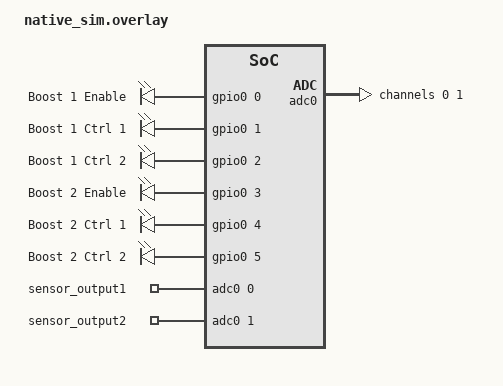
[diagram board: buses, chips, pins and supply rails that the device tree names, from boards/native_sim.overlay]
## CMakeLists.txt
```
# SPDX-License-Identifier: Apache-2.0

cmake_minimum_required(VERSION 3.20.0)

find_package(Zephyr REQUIRED HINTS $ENV{ZEPHYR_BASE})

project(sensor_power_tests)

target_include_directories(app PRIVATE 
    ${CMAKE_CURRENT_SOURCE_DIR}/../../include
)

target_sources(app PRIVATE src/main.c
    ${CMAKE_CURRENT_SOURCE_DIR}/../../src/sensor_power.c
)
```

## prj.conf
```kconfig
CONFIG_ZTEST=y
CONFIG_GPIO=y
CONFIG_GPIO_EMUL=y
CONFIG_REGULATOR=y
CONFIG_REGULATOR_FAKE=y
CONFIG_ADC=y
CONFIG_ADC_EMUL=y
CONFIG_FPU=y
```

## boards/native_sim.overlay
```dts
#include <zephyr/dt-bindings/gpio/gpio.h>
#include <dt-bindings/regulator/npm1300.h>

/ {

    leds {
		compatible = "gpio-leds";
		boost1_en: boost1_en {
			gpios = <&gpio0 0 GPIO_ACTIVE_HIGH>;
			label = "Boost 1 Enable";
		};
		boost1_ctrl1: boost1_ctrl1 {
			gpios = <&gpio0 1 GPIO_ACTIVE_HIGH>;
			label = "Boost 1 Ctrl 1";
		};
		boost1_ctrl2: boost1_ctrl2 {
			gpios = <&gpio0 2 GPIO_ACTIVE_HIGH>;
			label = "Boost 1 Ctrl 2";
		};
		boost2_en: boost2_en {
			gpios = <&gpio0 3 GPIO_ACTIVE_HIGH>;
			label = "Boost 2 Enable";
		};
		boost2_ctrl1: boost2_ctrl1 {
			gpios = <&gpio0 4 GPIO_ACTIVE_HIGH>;
			label = "Boost 2 Ctrl 1";
		};
		boost2_ctrl2: boost2_ctrl2 {
			gpios = <&gpio0 5 GPIO_ACTIVE_HIGH>;
			label = "Boost 2 Ctrl 2";
		};
	};
    aliases {
		boost1en = &boost1_en;
		boost1ctrl1 = &boost1_ctrl1;
		boost1ctrl2 = &boost1_ctrl2;
		boost2en = &boost2_en;
		boost2ctrl1 = &boost2_ctrl1;
		boost2ctrl2 = &boost2_ctrl2;
    };

	npm1300_ek_pmic: pmic {

        npm1300_ek_regulators: regulators {
            compatible = "zephyr,fake-regulator";

            npm1300_ek_buck1: buck1 {
                regulator-min-microvolt = <3000000>;
                regulator-max-microvolt = <3000000>;
            };

            npm1300_ek_ldo1: ldo1 {
                regulator-initial-mode = <NPM1300_LDSW_MODE_LDO>;
                /delete-property/ enable-gpios;
                /delete-property/ regulator-init-microvolt;
                regulator-boot-off;
            };

            npm1300_ek_ldo2: ldo2 {
                regulator-initial-mode = <NPM1300_LDSW_MODE_LDO>;
                /delete-property/ enable-gpios;
                /delete-property/ regulator-init-microvolt;
                regulator-boot-off;
            };
        };

        npm1300_ek_charger: charger {
            compatible = "test-charger"; // Dummy compatible
        };

        npm1300_ek_leds: leds {
            compatible = "nordic,npm1300-led";
            nordic,led0-mode = "error";    
            nordic,led1-mode = "charging";    
            nordic,led2-mode = "host";
        };
    };

    zephyr,user {
		/* adjust channel number according to pinmux in board.dts */
		io-channels = <&adc0 0>, <&adc0 1>;
		io-channel-names = "sensor_output1", "sensor_output2";
	};
};

&adc0 {
	#address-cells = <1>;
	#size-cells = <0>;
	status = "okay";
	ref-internal-mv = <600>;
	channel@0 {
		reg = <0>;
		zephyr,gain = "ADC_GAIN_1_6";
		zephyr,reference = "ADC_REF_INTERNAL";
		zephyr,acquisition-time = <ADC_ACQ_TIME_DEFAULT>;
		zephyr,input-positive = <2>; 
		zephyr,resolution = <12>;
	};
    channel@1 {
		reg = <1>;
		zephyr,gain = "ADC_GAIN_1_6";
		zephyr,reference = "ADC_REF_INTERNAL";
		zephyr,acquisition-time = <ADC_ACQ_TIME_DEFAULT>;
		zephyr,input-positive = <3>; 
		zephyr,resolution = <12>;
	};
};

&gpio0 {
    status = "okay";
    compatible = "zephyr,gpio-emul";
    ngpios = <32>;
    gpio-controller;
    #gpio-cells = <2>;
};
```

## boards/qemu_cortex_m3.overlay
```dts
#include <zephyr/dt-bindings/gpio/gpio.h>
#include <dt-bindings/regulator/npm1300.h>

/ {

    leds {
		compatible = "gpio-leds";
		boost1_en: boost1_en {
			gpios = <&gpio0 0 GPIO_ACTIVE_HIGH>;
			label = "Boost 1 Enable";
		};
		boost1_ctrl1: boost1_ctrl1 {
			gpios = <&gpio0 1 GPIO_ACTIVE_HIGH>;
			label = "Boost 1 Ctrl 1";
		};
		boost1_ctrl2: boost1_ctrl2 {
			gpios = <&gpio0 2 GPIO_ACTIVE_HIGH>;
			label = "Boost 1 Ctrl 2";
		};
		boost2_en: boost2_en {
			gpios = <&gpio0 3 GPIO_ACTIVE_HIGH>;
			label = "Boost 2 Enable";
		};
		boost2_ctrl1: boost2_ctrl1 {
			gpios = <&gpio0 4 GPIO_ACTIVE_HIGH>;
			label = "Boost 2 Ctrl 1";
		};
		boost2_ctrl2: boost2_ctrl2 {
			gpios = <&gpio0 5 GPIO_ACTIVE_HIGH>;
			label = "Boost 2 Ctrl 2";
		};
	};
    aliases {
		boost1en = &boost1_en;
		boost1ctrl1 = &boost1_ctrl1;
		boost1ctrl2 = &boost1_ctrl2;
		boost2en = &boost2_en;
		boost2ctrl1 = &boost2_ctrl1;
		boost2ctrl2 = &boost2_ctrl2;
    };

	npm1300_ek_pmic: pmic {
        // compatible = "zephyr,regulator";

        npm1300_ek_regulators: regulators {
            // compatible = "zephyr,regulator";
            compatible = "zephyr,fake-regulator";

            npm1300_ek_buck1: buck1 {
                regulator-min-microvolt = <3000000>;
                regulator-max-microvolt = <3000000>;
            };

            npm1300_ek_ldo1: ldo1 {
                regulator-initial-mode = <NPM1300_LDSW_MODE_LDO>;
                /delete-property/ enable-gpios;
                /delete-property/ regulator-init-microvolt;
                regulator-boot-off;
            };

            npm1300_ek_ldo2: ldo2 {
                regulator-initial-mode = <NPM1300_LDSW_MODE_LDO>;
                /delete-property/ enable-gpios;
                /delete-property/ regulator-init-microvolt;
                regulator-boot-off;
            };
        };

        npm1300_ek_charger: charger {
            compatible = "test-charger"; // Dummy compatible
        };

        npm1300_ek_leds: leds {
            compatible = "nordic,npm1300-led";
            nordic,led0-mode = "error";    
            nordic,led1-mode = "charging";    
            nordic,led2-mode = "host";
        };
    };
    // zephyr,user {
	// 	/* adjust channel number according to pinmux in board.dts */
	// 	io-channels = <&adc 0>, <&adc 1>;
	// 	io-channel-names = "sensor_output1", "sensor_output2";
	// };
};

// &adc {
// 	#address-cells = <1>;
// 	#size-cells = <0>;
// 	status = "okay";
// 	channel@0 {
// 		reg = <0>;
// 		zephyr,gain = "ADC_GAIN_1_6";
// 		zephyr,reference = "ADC_REF_INTERNAL";
// 		zephyr,acquisition-time = <ADC_ACQ_TIME_DEFAULT>;
// 		zephyr,input-positive = <NRF_SAADC_AIN2>; 
// 		zephyr,resolution = <12>;
// 	};
//     channel@1 {
// 		reg = <1>;
// 		zephyr,gain = "ADC_GAIN_1_6";
// 		zephyr,reference = "ADC_REF_INTERNAL";
// 		zephyr,acquisition-time = <ADC_ACQ_TIME_DEFAULT>;
// 		zephyr,input-positive = <NRF_SAADC_AIN3>; 
// 		zephyr,resolution = <12>;
// 	};
// };

// &adc0 {
// 	compatible = "zephyr,adc-emul";
// 	status = "okay";
// 	#address-cells = <1>;
// 	#size-cells = <0>;
// 	channel0: channel@0 {
// 		reg = <0>;
// 		zephyr,gain = "ADC_GAIN_1";
// 		zephyr,reference = "ADC_REF_INTERNAL";
// 		zephyr,acquisition-time = <ADC_ACQ_TIME_DEFAULT>;
// 		zephyr,input-positive = <0>;
// 		zephyr,resolution = <12>;
// 	};
// };

&gpio0 {
    status = "okay";
    compatible = "zephyr,gpio-emul";
    ngpios = <32>;
    gpio-controller;
    #gpio-cells = <2>;
};
```

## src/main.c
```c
/*
 * Copyright (c) 2016 Intel Corporation
 *
 * SPDX-License-Identifier: Apache-2.0
 * Tests:
 * - Regulators are less than 3V when off
 * - Regulator outputs are validated with ADC
 */

#include <zephyr/fff.h>
#include <zephyr/ztest.h>
#include "sensor_power.h"

#include <zephyr/drivers/gpio.h>
#include <zephyr/kernel.h>
#include <zephyr/drivers/gpio/gpio_emul.h>
#include <zephyr/drivers/regulator.h>
#include <zephyr/drivers/regulator/fake.h>
#include <zephyr/drivers/adc.h>
#include <zephyr/drivers/adc/adc_emul.h>


DEFINE_FFF_GLOBALS;

// static const struct adc_dt_spec adc_bat = ADC_DT_SPEC_GET_BY_NAME(DT_PATH(zephyr_user), v_bat);

sensor_power_config_t sensor_output1 = {
	.output_id = SENSOR_OUTPUT_1,
	.boost_en = GPIO_DT_SPEC_GET(DT_ALIAS(boost1en), gpios),	
	.boost_ctrl1 = GPIO_DT_SPEC_GET(DT_ALIAS(boost1ctrl1), gpios),
	.boost_ctrl2 = GPIO_DT_SPEC_GET(DT_ALIAS(boost1ctrl2), gpios),
	.ldo_dev = DEVICE_DT_GET(DT_NODELABEL(npm1300_ek_ldo1)),
	.output_read = ADC_DT_SPEC_GET_BY_NAME(DT_PATH(zephyr_user), sensor_output1)
};

sensor_power_config_t sensor_output2 = {
	.output_id = SENSOR_OUTPUT_2,
	.boost_en = GPIO_DT_SPEC_GET(DT_ALIAS(boost2en), gpios),	
	.boost_ctrl1 = GPIO_DT_SPEC_GET(DT_ALIAS(boost2ctrl1), gpios),
	.boost_ctrl2 = GPIO_DT_SPEC_GET(DT_ALIAS(boost2ctrl2), gpios),
	.ldo_dev = DEVICE_DT_GET(DT_NODELABEL(npm1300_ek_ldo2)),
	.output_read = ADC_DT_SPEC_GET_BY_NAME(DT_PATH(zephyr_user), sensor_output2)
};

/**
 * @brief confirm_voltage checks that gpios are set correctly for the boost converter and the correct 
 * regulator calls are made.
 * 
 * @param config the sensor struct to check
 * @param voltage the voltage setting being confirmed
 */
static void confirm_voltage(sensor_power_config_t *config, enum sensor_voltage voltage)
{
	int val_en = gpio_emul_output_get(config->boost_en.port, config->boost_en.pin);
	int val_ctrl1 = gpio_emul_output_get(config->boost_ctrl1.port, config->boost_ctrl1.pin);
	int val_ctrl2 = gpio_emul_output_get(config->boost_ctrl2.port, config->boost_ctrl2.pin);

	int sensor_voltage_value = get_sensor_output(config);

	switch (voltage) {
		case SENSOR_VOLTAGE_OFF:
			zassert_equal(sensor_voltage_value, SENSOR_VOLTAGE_OFF, "Sensor output should be set to SENSOR_VOLTAGE_OFF instead is %d", sensor_voltage_value);
			zassert_false(regulator_is_enabled(config->ldo_dev), "Regulator should be off for SENSOR_VOLTAGE_OFF");
			zassert_equal(val_en, 0, "BOOST_EN should be LOW for OFF");
			zassert_equal(val_ctrl1, 0, "CTRL1 should be LOW for OFF");
			zassert_equal(val_ctrl2, 0, "CTRL2 should be LOW for OFF");
			break;
		case SENSOR_VOLTAGE_3V3:
			zassert_equal(sensor_voltage_value, SENSOR_VOLTAGE_3V3, "Sensor output should be set to SENSOR_VOLTAGE_3V3");
			zassert_true(regulator_is_enabled(config->ldo_dev), "Regulator should be on for SENSOR_VOLTAGE_3V3");
			zassert_equal(val_en, 0, "BOOST_EN should be LOW for SENSOR_VOLTAGE_3V3");
			zassert_equal(val_ctrl1, 0, "CTRL1 should be LOW for SENSOR_VOLTAGE_3V3");
			zassert_equal(val_ctrl2, 0, "CTRL2 should be LOW for SENSOR_VOLTAGE_3V3");
			break;
		case SENSOR_VOLTAGE_5V:
			zassert_equal(regulator_fake_enable_fake.call_count, 0, "Expected regulator_enable to not be called for for SENSOR_VOLTAGE_5V");
			zassert_false(regulator_is_enabled(config->ldo_dev), "Regulator should be off for SENSOR_VOLTAGE_5V");
			zassert_equal(val_en, 1, "BOOST_EN should be HIGH for SENSOR_VOLTAGE_5V");
			zassert_equal(val_ctrl1, 1, "CTRL1 should be HIGH for SENSOR_VOLTAGE_5V");
			zassert_equal(val_ctrl2, 1, "CTRL2 should be HIGH for SENSOR_VOLTAGE_5V");
			break;
		case SENSOR_VOLTAGE_6V:
			zassert_equal(regulator_fake_enable_fake.call_count, 0, "Expected regulator_enable to not be called for for SENSOR_VOLTAGE_6V");
			zassert_false(regulator_is_enabled(config->ldo_dev), "Regulator should be off for SENSOR_VOLTAGE_6V");
			zassert_equal(val_en, 1, "BOOST_EN should be HIGH for SENSOR_VOLTAGE_6V");
			zassert_equal(val_ctrl1, 0, "CTRL1 should be LOW for SENSOR_VOLTAGE_6V");
			zassert_equal(val_ctrl2, 1, "CTRL2 should be HIGH for SENSOR_VOLTAGE_6V");
			break;
		case SENSOR_VOLTAGE_12V:
			zassert_equal(regulator_fake_enable_fake.call_count, 0, "Expected regulator_enable to not be called for for SENSOR_VOLTAGE_12V");
			zassert_false(regulator_is_enabled(config->ldo_dev), "Regulator should be off for SENSOR_VOLTAGE_12V");
			zassert_equal(val_en, 1, "BOOST_EN should be HIGH for SENSOR_VOLTAGE_12V");
			zassert_equal(val_ctrl1, 1, "CTRL1 should be HIGH for SENSOR_VOLTAGE_12V");
			zassert_equal(val_ctrl2, 0, "CTRL2 should be LOW for SENSOR_VOLTAGE_12V");
			break;
		case SENSOR_VOLTAGE_24V:
			zassert_equal(regulator_fake_enable_fake.call_count, 0, "Expected regulator_enable to not be called for for SENSOR_VOLTAGE_24V");
			zassert_false(regulator_is_enabled(config->ldo_dev), "Regulator should be off for SENSOR_VOLTAGE_24V");
			zassert_equal(val_en, 1, "BOOST_EN should be HIGH for SENSOR_VOLTAGE_24V");
			zassert_equal(val_ctrl1, 0, "CTRL1 should be LOW for SENSOR_VOLTAGE_24V");
			zassert_equal(val_ctrl2, 0, "CTRL2 should be LOW for SENSOR_VOLTAGE_24V");
			break;
		default:
			ztest_test_fail();
			return -EINVAL; 
	}
}

/**
 * @brief Reset all fakes being used in tests
 * 
 */
static void reset_all_fakes(void)
{
	// Clear previous call history
	RESET_FAKE(regulator_fake_set_voltage);
	RESET_FAKE(regulator_fake_enable);
	RESET_FAKE(regulator_fake_disable);
}

/**
 * @brief Setup sensor power systems 
 * 
 */
static void testsuite_setup(void)
{
	reset_all_fakes();

	int err;
	err = sensor_power_init(&sensor_output1);
	zassert_ok(err, "Sensor power initialization failed");

	err = sensor_power_init(&sensor_output2);
	zassert_ok(err, "Sensor power initialization failed");

	zassert_true(device_is_ready(sensor_output1.output_read.dev), "Sensor1 ADC is not ready");
	zassert_true(device_is_ready(sensor_output2.output_read.dev), "Sensor2 ADC is not ready");

	zassert_true(device_is_ready(sensor_output1.ldo_dev), "LDO1 not ready");
	zassert_true(device_is_ready(sensor_output2.ldo_dev), "LDO2 not ready");

	zassert_true(device_is_ready(sensor_output1.boost_en.port), "GPIO EN1 not ready");
	zassert_true(device_is_ready(sensor_output1.boost_ctrl1.port), "GPIO CTRL1 not ready");

	// These will be used for gpio emul
	zassert_true(device_is_ready(sensor_output1.boost_en.port), "GPIO EN1 not ready");
	zassert_true(device_is_ready(sensor_output1.boost_ctrl1.port), "GPIO CTRL1 not ready");
	zassert_true(device_is_ready(sensor_output1.boost_ctrl2.port), "GPIO CTRL2 not ready");

	zassert_true(device_is_ready(sensor_output2.boost_en.port), "GPIO EN2 not ready");
	zassert_true(device_is_ready(sensor_output2.boost_ctrl1.port), "GPIO CTRL1 not ready");
	zassert_true(device_is_ready(sensor_output2.boost_ctrl2.port), "GPIO CTRL2 not ready");

	zassert_equal(regulator_fake_set_voltage_fake.call_count, 2, "regulator_set_voltage not called twice");
	// Check the first regulator was set up correctly 
	zassert_equal(regulator_fake_set_voltage_fake.arg0_history[0], sensor_output1.ldo_dev);
	zassert_equal(regulator_fake_set_voltage_fake.arg1_history[0], 3300000);
	zassert_equal(regulator_fake_set_voltage_fake.arg2_history[0], 3300000);
	// Check the second regulator was set up correctly
	zassert_equal(regulator_fake_set_voltage_fake.arg0_history[1], sensor_output2.ldo_dev);
	zassert_equal(regulator_fake_set_voltage_fake.arg1_history[1], 3300000);
	zassert_equal(regulator_fake_set_voltage_fake.arg2_history[1], 3300000);

	confirm_voltage(&sensor_output1, SENSOR_VOLTAGE_OFF);
	confirm_voltage(&sensor_output2, SENSOR_VOLTAGE_OFF);
}

/**
 * @brief Call after each test
 * 
 */
static void after_tests(void)
{
	// Reset all voltages to OFF after each test
	set_sensor_output(&sensor_output1, SENSOR_VOLTAGE_OFF);
	set_sensor_output(&sensor_output2, SENSOR_VOLTAGE_OFF);
}

/**
 * @brief Call before each test
 * 
 */
static void before_tests(void)
{
	reset_all_fakes();
}

/**
 * @brief Test Asserts
 *
 * This test verifies various assert macros provided by ztest.
 *
 */
ZTEST_SUITE(sensor_power_tests, NULL, testsuite_setup, before_tests, after_tests, NULL);

/**
 * @brief Confirm the correct gpios are set and regulator calls are made for setting an output OFF
 * 
 */
ZTEST(sensor_power_tests, test_set_regulator_off)
{
	set_sensor_output(&sensor_output1, SENSOR_VOLTAGE_OFF);
	confirm_voltage(&sensor_output1, SENSOR_VOLTAGE_OFF);
}

/**
 * @brief Confirm the correct gpios are set and regulator calls are made for setting an output to 3.3V
 * 
 */
ZTEST(sensor_power_tests, test_set_regulator_3v3)
{
	set_sensor_output(&sensor_output1, SENSOR_VOLTAGE_3V3);
	confirm_voltage(&sensor_output1, SENSOR_VOLTAGE_3V3);
}

/**
 * @brief Confirm the correct gpios are set and regulator calls are made for setting an output to 5V
 * 
 */
ZTEST(sensor_power_tests, test_set_regulator_5v)
{
	set_sensor_output(&sensor_output1, SENSOR_VOLTAGE_5V);
	confirm_voltage(&sensor_output1, SENSOR_VOLTAGE_5V);
}

/**
 * @brief Confirm the correct gpios are set and regulator calls are made for setting an output to 6V
 * 
 */
ZTEST(sensor_power_tests, test_set_regulator_6v)
{
	set_sensor_output(&sensor_output1, SENSOR_VOLTAGE_6V);
	confirm_voltage(&sensor_output1, SENSOR_VOLTAGE_6V);
}

/**
 * @brief Confirm the correct gpios are set and regulator calls are made for setting an output to 12V
 * 
 */
ZTEST(sensor_power_tests, test_set_regulator_12v)
{
	set_sensor_output(&sensor_output1, SENSOR_VOLTAGE_12V);
	confirm_voltage(&sensor_output1, SENSOR_VOLTAGE_12V);
}

/**
 * @brief Confirm the correct gpios are set and regulator calls are made for setting an output to 24V
 * 
 */
ZTEST(sensor_power_tests, test_set_regulator_24v)
{
	set_sensor_output(&sensor_output1, SENSOR_VOLTAGE_24V);
	confirm_voltage(&sensor_output1, SENSOR_VOLTAGE_24V);
}

/**
 * @brief Confirm that multiple outputs can be set correctly 
 * 
 */
ZTEST(sensor_power_tests, test_set_different_sensors_different_voltages)
{
	set_sensor_output(&sensor_output1, SENSOR_VOLTAGE_6V);
	confirm_voltage(&sensor_output1, SENSOR_VOLTAGE_6V);

	set_sensor_output(&sensor_output2, SENSOR_VOLTAGE_24V);
	confirm_voltage(&sensor_output2, SENSOR_VOLTAGE_24V);
}

/**
 * @brief Confirm that the same output can be set correctly multiple times
 * 
 */
ZTEST(sensor_power_tests, test_set_same_sensor_multiple_times)
{
	set_sensor_output(&sensor_output1, SENSOR_VOLTAGE_3V3);
	confirm_voltage(&sensor_output1, SENSOR_VOLTAGE_3V3);

	set_sensor_output(&sensor_output1, SENSOR_VOLTAGE_OFF);
	confirm_voltage(&sensor_output1, SENSOR_VOLTAGE_OFF);
	zassert_equal(regulator_fake_disable_fake.call_count, 1, "Expected regulator_disable to be called once when going from 3V3 to OFF");
}

/**
 * @brief Confirm that invalid outputs set output to OFF
 * 
 */
ZTEST(sensor_power_tests, test_invalid_output_sets_voltage_off)
{
	set_sensor_output(&sensor_output1, SENSOR_VOLTAGE_3V3);
	confirm_voltage(&sensor_output1, SENSOR_VOLTAGE_3V3);

	set_sensor_output(&sensor_output1, SENSOR_VOLTAGE_INDEX_LIMIT);
	confirm_voltage(&sensor_output1, SENSOR_VOLTAGE_OFF);
}


/**
 * @brief Get correct name associated to a sensor value
 * 
 */
ZTEST(sensor_power_tests, test_get_sensor_output_name)
{
	char voltage_name[20];
	char * expected_name = "SENSOR_VOLTAGE_3V3";
	int ret = get_sensor_voltage_name(voltage_name, SENSOR_VOLTAGE_3V3);
	zassert_ok(ret, "Issue getting the correct name");
	zassert_str_equal(voltage_name, expected_name, "%s is not %s", voltage_name, expected_name);
}

/**
 * @brief Test upper and lower bounds return of get_sensor_voltage_name
 * 
 */
ZTEST(sensor_power_tests, test_sensor_output_name_out_of_bounds)
{
	char voltage_name[20];
	int ret = get_sensor_voltage_name(voltage_name, SENSOR_VOLTAGE_INDEX_LIMIT);
	zassert_not_ok(ret, "did not detect out of bounds name");
	ret = get_sensor_voltage_name(voltage_name, -1);
	zassert_not_ok(ret, "did not detect out of bounds name");
}

/**
 * @brief Confirm that sensor output read adc is working 
 * 
 */
ZTEST(sensor_power_tests, test_output_read_expected_value)
{
	float accepted_error = 0.05; // Take into account integer rounding errors in the conversion
	set_sensor_output(&sensor_output1, SENSOR_VOLTAGE_3V3);
	confirm_voltage(&sensor_output1, SENSOR_VOLTAGE_3V3);
	const uint16_t input_mv = 2500;
	const float expected_output = (float)(input_mv / 1000.0) * (float)(((float)OUTUT_READ_DIVIDER_HIGH + (float)OUTUT_READ_DIVIDER_LOW)/(float)OUTUT_READ_DIVIDER_LOW);
	adc_emul_const_value_set(sensor_output1.output_read.dev, sensor_output1.output_read.channel_id, input_mv);
	float output = read_sensor_output(&sensor_output1);
	zassert_within(output, expected_output, accepted_error, "Mismatch: got %f, expected %f", output, expected_output);
}

/**
 * @brief Test validate_output for 3v3, making sure valid adc reading and sensor was set correctly
 * 
 */
ZTEST(sensor_power_tests, test_validate_output_3v3)
{
	int ret;
	set_sensor_output(&sensor_output1, SENSOR_VOLTAGE_3V3);

	uint8_t allowed_error = 5;
	const uint16_t input_mv = 3300; // 3.3V
	const uint16_t emul_mv = (input_mv * OUTUT_READ_DIVIDER_LOW) / (OUTUT_READ_DIVIDER_HIGH + OUTUT_READ_DIVIDER_LOW);
	adc_emul_const_value_set(sensor_output1.output_read.dev, sensor_output1.output_read.channel_id, emul_mv);
	
	ret = validate_output(&sensor_output1, SENSOR_VOLTAGE_3V3, allowed_error);
	zassert_ok(ret, "Voltage read does not match expected value");
}

/**
 * @brief Test validate_output for 5V, making sure valid adc reading and sensor was set correctly
 * 
 */
ZTEST(sensor_power_tests, test_validate_output_5v)
{
	int ret;
	set_sensor_output(&sensor_output1, SENSOR_VOLTAGE_5V);

	uint8_t allowed_error = 5;
	const uint16_t input_mv = 5000; // 5V
	const uint16_t emul_mv = (input_mv * OUTUT_READ_DIVIDER_LOW) / (OUTUT_READ_DIVIDER_HIGH + OUTUT_READ_DIVIDER_LOW);
	adc_emul_const_value_set(sensor_output1.output_read.dev, sensor_output1.output_read.channel_id, emul_mv);
	
	ret = validate_output(&sensor_output1, SENSOR_VOLTAGE_5V, allowed_error);
	zassert_ok(ret, "Voltage read does not match expected value");
}

/**
 * @brief Test validate_output for 6V, making sure valid adc reading and sensor was set correctly
 * 
 */
ZTEST(sensor_power_tests, test_validate_output_6v)
{
	int ret;
	set_sensor_output(&sensor_output1, SENSOR_VOLTAGE_6V);

	uint8_t allowed_error = 5;
	const uint16_t input_mv = 6000; // 6V
	const uint16_t emul_mv = (input_mv * OUTUT_READ_DIVIDER_LOW) / (OUTUT_READ_DIVIDER_HIGH + OUTUT_READ_DIVIDER_LOW);
	adc_emul_const_value_set(sensor_output1.output_read.dev, sensor_output1.output_read.channel_id, emul_mv);
	
	ret = validate_output(&sensor_output1, SENSOR_VOLTAGE_6V, allowed_error);
	zassert_ok(ret, "Voltage read does not match expected value");
}

/**
 * @brief Test validate_output for 12V, making sure valid adc reading and sensor was set correctly
 * 
 */
ZTEST(sensor_power_tests, test_validate_output_12v)
{
	int ret;
	set_sensor_output(&sensor_output1, SENSOR_VOLTAGE_12V);

	uint8_t allowed_error = 5;
	const uint16_t input_mv = 12000; // 12V
	const uint16_t emul_mv = (input_mv * OUTUT_READ_DIVIDER_LOW) / (OUTUT_READ_DIVIDER_HIGH + OUTUT_READ_DIVIDER_LOW);
	adc_emul_const_value_set(sensor_output1.output_read.dev, sensor_output1.output_read.channel_id, emul_mv);
	
	ret = validate_output(&sensor_output1, SENSOR_VOLTAGE_12V, allowed_error);
	zassert_ok(ret, "Voltage read does not match expected value");
}

/**
 * @brief Test validate_output for 24V, making sure valid adc reading and sensor was set correctly
 * 
 */
ZTEST(sensor_power_tests, test_validate_output_24v)
{
	int ret;
	set_sensor_output(&sensor_output1, SENSOR_VOLTAGE_24V);

	uint8_t allowed_error = 5;
	const uint16_t input_mv = 24000; // 24V
	const uint16_t emul_mv = (input_mv * OUTUT_READ_DIVIDER_LOW) / (OUTUT_READ_DIVIDER_HIGH + OUTUT_READ_DIVIDER_LOW);
	adc_emul_const_value_set(sensor_output1.output_read.dev, sensor_output1.output_read.channel_id, emul_mv);
	
	ret = validate_output(&sensor_output1, SENSOR_VOLTAGE_24V, allowed_error);
	zassert_ok(ret, "Voltage read does not match expected value");
}

/**
 * @brief Test validate_output has error for 3v3 when there is a 6% input error above and accepted_error is set to 5%
 * 
 */
ZTEST(sensor_power_tests, test_validate_output_3v3_out_of_bounds_high)
{
	int ret;
	set_sensor_output(&sensor_output1, SENSOR_VOLTAGE_3V3);
	
	uint8_t allowed_error = 5;
	const uint16_t input_mv = 3498; // 3.3V + 6% error
	const uint16_t emul_mv = (input_mv * OUTUT_READ_DIVIDER_LOW) / (OUTUT_READ_DIVIDER_HIGH + OUTUT_READ_DIVIDER_LOW);
	adc_emul_const_value_set(sensor_output1.output_read.dev, sensor_output1.output_read.channel_id, emul_mv);
	
	ret = validate_output(&sensor_output1, SENSOR_VOLTAGE_3V3, allowed_error);
	zassert_not_ok(ret, "Voltage read does not match expected value");
}

/**
 * @brief Test validate_output has error for 3v3 when there is a 6% input error below and accepted_error is set to 5%
 * 
 */
ZTEST(sensor_power_tests, test_validate_output_3v3_out_of_bounds_low)
{
	int ret;
	set_sensor_output(&sensor_output1, SENSOR_VOLTAGE_3V3);
	
	uint8_t allowed_error = 5;
	const uint16_t input_mv = 3102; // 3.3V - 6% error
	const uint16_t emul_mv = (input_mv * OUTUT_READ_DIVIDER_LOW) / (OUTUT_READ_DIVIDER_HIGH + OUTUT_READ_DIVIDER_LOW);
	adc_emul_const_value_set(sensor_output1.output_read.dev, sensor_output1.output_read.channel_id, emul_mv);
	
	ret = validate_output(&sensor_output1, SENSOR_VOLTAGE_3V3, allowed_error);
	zassert_not_ok(ret, "Voltage read does not match expected value");
}

/**
 * @brief Test validate_output for 3v3 when there is a 3% error above and accepted_error is set to 5%
 * 
 */
ZTEST(sensor_power_tests, test_validate_output_3v3_in_bounds_high)
{
	int ret;
	set_sensor_output(&sensor_output1, SENSOR_VOLTAGE_3V3);
	
	uint8_t allowed_error = 5;
	const uint16_t input_mv = 3399; // 3.3V + 3% error
	const uint16_t emul_mv = (input_mv * OUTUT_READ_DIVIDER_LOW) / (OUTUT_READ_DIVIDER_HIGH + OUTUT_READ_DIVIDER_LOW);
	adc_emul_const_value_set(sensor_output1.output_read.dev, sensor_output1.output_read.channel_id, emul_mv);
	
	ret = validate_output(&sensor_output1, SENSOR_VOLTAGE_3V3, allowed_error);
	zassert_ok(ret, "Voltage read does not match expected value");
}

/**
 * @brief Test validate_output for 3v3 when there is a 3% error below and accepted_error is set to 5%
 * 
 */
ZTEST(sensor_power_tests, test_validate_output_3v3_in_bounds_low)
{
	int ret;
	set_sensor_output(&sensor_output1, SENSOR_VOLTAGE_3V3);
	
	uint8_t allowed_error = 5;
	const uint16_t input_mv = 3201; // 3.3V - 3% error
	const uint16_t emul_mv = (input_mv * OUTUT_READ_DIVIDER_LOW) / (OUTUT_READ_DIVIDER_HIGH + OUTUT_READ_DIVIDER_LOW);
	adc_emul_const_value_set(sensor_output1.output_read.dev, sensor_output1.output_read.channel_id, emul_mv);
	
	ret = validate_output(&sensor_output1, SENSOR_VOLTAGE_3V3, allowed_error);
	zassert_ok(ret, "Voltage read does not match expected value");
}


/**
 * @brief Test validate_output has error for 24v when there is a 6% input error above and accepted_error is set to 5%
 * 
 */
ZTEST(sensor_power_tests, test_validate_output_24v_out_of_bounds_high)
{
	int ret;
	set_sensor_output(&sensor_output1, SENSOR_VOLTAGE_24V);
	
	uint8_t allowed_error = 5;
	const uint16_t input_mv = 25440; // 24V + 6% error
	const uint16_t emul_mv = (input_mv * OUTUT_READ_DIVIDER_LOW) / (OUTUT_READ_DIVIDER_HIGH + OUTUT_READ_DIVIDER_LOW);
	adc_emul_const_value_set(sensor_output1.output_read.dev, sensor_output1.output_read.channel_id, emul_mv);
	
	ret = validate_output(&sensor_output1, SENSOR_VOLTAGE_24V, allowed_error);
	zassert_not_ok(ret, "Voltage read does not match expected value");
}

/**
 * @brief Test validate_output has error for 24v when there is a 6% input error below and accepted_error is set to 5%
 * 
 */
ZTEST(sensor_power_tests, test_validate_output_24v_out_of_bounds_low)
{
	int ret;
	set_sensor_output(&sensor_output1, SENSOR_VOLTAGE_24V);
	
	uint8_t allowed_error = 5;
	const uint16_t input_mv = 22560; // 24V - 6% error
	const uint16_t emul_mv = (input_mv * OUTUT_READ_DIVIDER_LOW) / (OUTUT_READ_DIVIDER_HIGH + OUTUT_READ_DIVIDER_LOW);
	adc_emul_const_value_set(sensor_output1.output_read.dev, sensor_output1.output_read.channel_id, emul_mv);
	
	ret = validate_output(&sensor_output1, SENSOR_VOLTAGE_24V, allowed_error);
	zassert_not_ok(ret, "Voltage read does not match expected value");
}

/**
 * @brief Test validate_output for 24V when there is a 3% error above and accepted_error is set to 5%
 * 
 */
ZTEST(sensor_power_tests, test_validate_output_24v_in_bounds_high)
{
	int ret;
	set_sensor_output(&sensor_output1, SENSOR_VOLTAGE_24V);
	
	uint8_t allowed_error = 5;
	const uint16_t input_mv = 24720; // 24V + 3% error
	const uint16_t emul_mv = (input_mv * OUTUT_READ_DIVIDER_LOW) / (OUTUT_READ_DIVIDER_HIGH + OUTUT_READ_DIVIDER_LOW);
	adc_emul_const_value_set(sensor_output1.output_read.dev, sensor_output1.output_read.channel_id, emul_mv);
	
	ret = validate_output(&sensor_output1, SENSOR_VOLTAGE_24V, allowed_error);
	zassert_ok(ret, "Voltage read does not match expected value");
}

/**
 * @brief Test validate_output for 24v when there is a 3% error below and accepted_error is set to 5%
 * 
 */
ZTEST(sensor_power_tests, test_validate_output_24v_in_bounds_low)
{
	int ret;
	set_sensor_output(&sensor_output1, SENSOR_VOLTAGE_24V);
	
	uint8_t allowed_error = 5;
	const uint16_t input_mv = 23280; // 24V - 3% error
	const uint16_t emul_mv = (input_mv * OUTUT_READ_DIVIDER_LOW) / (OUTUT_READ_DIVIDER_HIGH + OUTUT_READ_DIVIDER_LOW);
	adc_emul_const_value_set(sensor_output1.output_read.dev, sensor_output1.output_read.channel_id, emul_mv);
	
	ret = validate_output(&sensor_output1, SENSOR_VOLTAGE_24V, allowed_error);
	zassert_ok(ret, "Voltage read does not match expected value");
}

/**
 * @brief Test validate_output when the voltage read is correct but the set voltage is incorrect, should produce an error
 * 
 */
ZTEST(sensor_power_tests, test_validate_output_wrong_setting)
{
	int ret;
	set_sensor_output(&sensor_output1, SENSOR_VOLTAGE_3V3);
	
	uint8_t allowed_error = 5;
	const uint16_t input_mv = 24000; // 24V - 3% error
	const uint16_t emul_mv = (input_mv * OUTUT_READ_DIVIDER_LOW) / (OUTUT_READ_DIVIDER_HIGH + OUTUT_READ_DIVIDER_LOW);
	adc_emul_const_value_set(sensor_output1.output_read.dev, sensor_output1.output_read.channel_id, emul_mv);
	
	ret = validate_output(&sensor_output1, SENSOR_VOLTAGE_24V, allowed_error);
	zassert_not_ok(ret, "Voltage does not match expected value");
}
```

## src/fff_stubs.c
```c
#include <zephyr/fff.h>

DEFINE_FAKE_VALUE_FUNC(int, regulator_fake_enable, const struct device *);
DEFINE_FAKE_VALUE_FUNC(int, regulator_fake_disable, const struct device *);
DEFINE_FAKE_VALUE_FUNC(int, regulator_fake_count_voltages, const struct device *);
DEFINE_FAKE_VALUE_FUNC(int, regulator_fake_list_voltage, const struct device *, unsigned int);
DEFINE_FAKE_VALUE_FUNC(int, regulator_fake_set_voltage, const struct device *, int32_t, int32_t);
```
